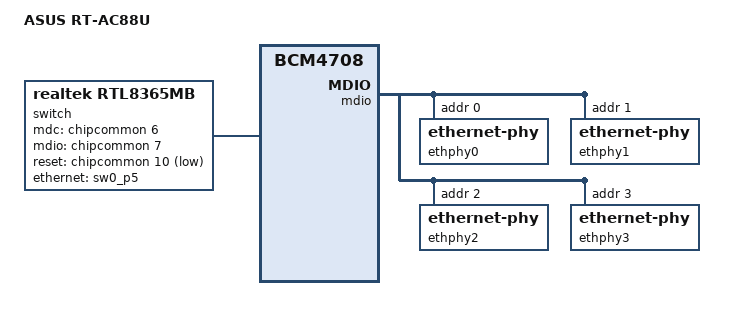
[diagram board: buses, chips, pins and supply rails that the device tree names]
// SPDX-License-Identifier: GPL-2.0-or-later OR MIT
/*
 * Author: Arınç ÜNAL <arinc.unal@arinc9.com>
 */

/dts-v1/;

#include "bcm47094-asus-rt-ac3100.dtsi"

/ {
	compatible = "asus,rt-ac88u", "brcm,bcm47094", "brcm,bcm4708";
	model = "ASUS RT-AC88U";

	nvram@1c080000 {
		et1macaddr: et1macaddr {
			#nvmem-cell-cells = <1>;
		};
	};

	switch {
		compatible = "realtek,rtl8365mb";
		mdc-gpios = <&chipcommon 6 GPIO_ACTIVE_HIGH>;
		mdio-gpios = <&chipcommon 7 GPIO_ACTIVE_HIGH>;
		reset-gpios = <&chipcommon 10 GPIO_ACTIVE_LOW>;
		realtek,disable-leds;
		dsa,member = <1 0>;

		mdio {
			compatible = "realtek,smi-mdio";
			#address-cells = <1>;
			#size-cells = <0>;

			ethphy0: ethernet-phy@0 {
				reg = <0>;
			};

			ethphy1: ethernet-phy@1 {
				reg = <1>;
			};

			ethphy2: ethernet-phy@2 {
				reg = <2>;
			};

			ethphy3: ethernet-phy@3 {
				reg = <3>;
			};
		};

		ports {
			#address-cells = <1>;
			#size-cells = <0>;

			port@0 {
				reg = <0>;
				label = "lan5";
				phy-handle = <&ethphy0>;
			};

			port@1 {
				reg = <1>;
				label = "lan6";
				phy-handle = <&ethphy1>;
			};

			port@2 {
				reg = <2>;
				label = "lan7";
				phy-handle = <&ethphy2>;
			};

			port@3 {
				reg = <3>;
				label = "lan8";
				phy-handle = <&ethphy3>;
			};

			port@6 {
				reg = <6>;
				label = "cpu";
				ethernet = <&sw0_p5>;
				phy-mode = "rgmii";
				tx-internal-delay-ps = <2000>;
				rx-internal-delay-ps = <2100>;

				fixed-link {
					speed = <1000>;
					full-duplex;
					pause;
				};
			};
		};
	};
};

&gmac0 {
	status = "disabled";
};

&gmac1 {
	nvmem-cells = <&et1macaddr 0>;
	nvmem-cell-names = "mac-address";
};

&gmac2 {
	nvmem-cells = <&et1macaddr 1>;
	nvmem-cell-names = "mac-address";
};

&srab {
	dsa,member = <0 0>;

	ports {
		sw0_p5: port@5 {
			/delete-property/ethernet;

			label = "extsw";
			phy-mode = "rgmii";

			fixed-link {
				speed = <1000>;
				full-duplex;
				pause;
			};
		};
	};
};
